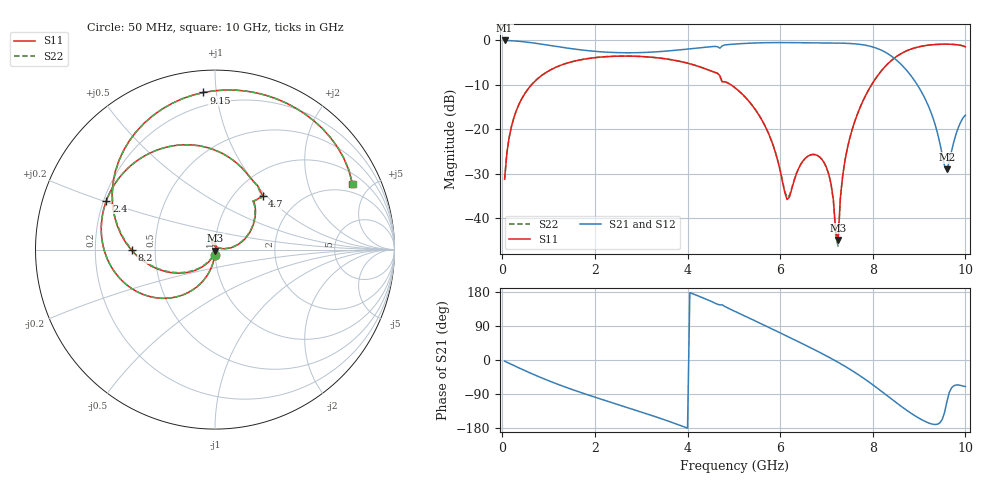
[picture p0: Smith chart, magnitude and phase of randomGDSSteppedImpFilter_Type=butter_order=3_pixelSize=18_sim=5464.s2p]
! freq	dB(S11)	phase(S11)	dB(S12)	phase(S12)
!  dB(S21)	phase(S21)	dB(S22)	phase(S22)
!S-par simulation data
#  GHz  S  DB  R 50
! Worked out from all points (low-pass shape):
!   200 points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, 50 MHz to 10 GHz, reference 50 ohm
!   highest |S21| = -0.01 dB at 50 MHz (marker M1); lowest = -29.0 dB at 9.6 GHz (marker M2)
!   |S21| within 3 dB of the highest: start of sweep to 8.328 GHz
!   lowest |S11| = -44.9 dB at 7.25 GHz (marker M3), VSWR 1.01, Z = 50.2 - j0.518 ohm
!   |S11| at or under -10 dB: start of sweep to 628.1 MHz; 4.942 GHz to 7.973 GHz (3.031 GHz wide, 46.9 % of centre)
!   |S22| runs from -46.2 to -0.8 dB; largest |S21 - S12| = 0
!   S11 on the Smith chart (normalised r, x): 50 MHz: 1.00, -0.06; 2.4 GHz: 0.21, +0.21; 4.7 GHz: 1.34, +0.95; 8.2 GHz: 0.37, -0.00; 9.15 GHz: 0.12, +0.92; 10 GHz: 1.51, +3.89
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0.05  -31.17 -93.1  -0.01 -3.0  -0.01 -3.0  -31.17 -93.1
0.2  -19.25 -102.2  -0.07 -11.7  -0.07 -11.7  -19.25 -102.2
0.5  -11.73 -119.3  -0.34 -28.7  -0.34 -28.7  -11.73 -119.3
1.75  -4.24 -178.6  -2.19 -88.0  -2.19 -88.0  -4.24 -178.6
2.4  -3.56 155.7  -2.71 -113.8  -2.71 -113.8  -3.56 155.8
3.4  -3.96 116.3  -2.51 -153.4  -2.51 -153.4  -3.96 116.5
4.7  -7.98 48.3  -1.74 145.6  -1.74 145.6  -8.17 47.9
5.05  -10.84 38.9  -0.79 126.7  -0.79 126.7  -10.84 39.5
5.7  -19.79 8.2  -0.51 89.2  -0.51 89.2  -19.77 9.2
6.15  -35.76 56.8  -0.49 62.8  -0.49 62.8  -35.28 57.4
6.7  -25.62 106.0  -0.54 29.7  -0.54 29.7  -25.61 106.4
7.05  -30.07 84.3  -0.56 7.5  -0.56 7.5  -30.10 86.6
7.25  -44.86 -64.3  -0.59 -5.9  -0.59 -5.9  -46.22 -82.9
7.3  -35.41 -95.0  -0.60 -9.4  -0.60 -9.4  -35.51 -101.8
7.35  -30.40 -103.3  -0.62 -13.0  -0.62 -13.0  -30.42 -107.4
7.5  -22.09 -117.8  -0.68 -24.0  -0.68 -24.0  -22.08 -119.7
8.2  -6.66 -179.5  -2.27 -83.7  -2.27 -83.7  -6.66 180.0
8.35  -5.00 166.0  -3.15 -97.9  -3.15 -97.9  -5.00 165.6
8.7  -2.48 132.7  -6.35 -129.9  -6.35 -129.9  -2.48 132.4
9.15  -1.13 94.2  -13.54 -163.2  -13.54 -163.2  -1.13 94.0
9.6  -0.84 60.0  -28.99 -110.4  -28.99 -110.4  -0.84 59.9
10  -1.44 25.3  -16.79 -70.0  -16.79 -70.0  -1.42 25.3
